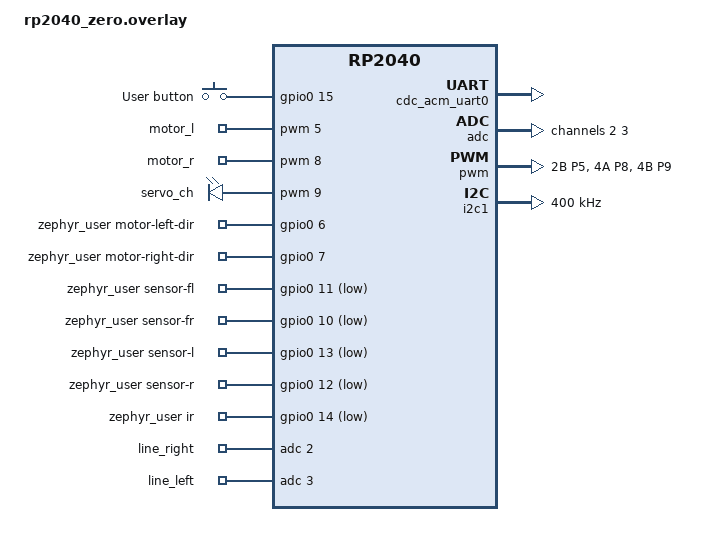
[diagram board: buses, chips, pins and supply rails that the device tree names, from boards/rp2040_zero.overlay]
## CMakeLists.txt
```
cmake_minimum_required(VERSION 3.20.0)
find_package(Zephyr REQUIRED HINTS $ENV{ZEPHYR_BASE})
project(joltik_v2_sumo)

target_sources(app PRIVATE
    src/main.c
    src/motors.c
    src/sensors.c
    src/led.c
    src/servo.c
    src/combat.c
    src/tactics.c
    src/button.c
    src/rc5.c
    src/shell_cmds.c
    src/settings.c
)

target_sources_ifdef(CONFIG_JOLTIK_DISPLAY app PRIVATE
    src/display.c
    src/u8g2_zephyr_hal.c
)

# u8g2 graphics library (vendored subset)
if(CONFIG_JOLTIK_DISPLAY)
    set(U8G2_DIR ${CMAKE_CURRENT_SOURCE_DIR}/lib/u8g2)
    file(GLOB U8G2_SOURCES ${U8G2_DIR}/*.c)
    target_sources(app PRIVATE ${U8G2_SOURCES})
    target_include_directories(app PRIVATE ${U8G2_DIR})
endif()
```

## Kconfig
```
mainmenu "Joltik V2 Sumo Robot Configuration"

config JOLTIK_DISPLAY
	bool "Enable SSD1306 OLED display (u8g2)"
	default n
	depends on I2C
	help
	  Enable the optional 128x32 SSD1306 OLED display on I2C1 (GPIO2/GPIO3).
	  Uses vendored u8g2 graphics library for rendering.

config JOLTIK_IR_REMOTE
	bool "Enable RC5 IR remote control"
	default y
	help
	  Enable RC5 infrared remote control for tactic selection and start/stop.

source "Kconfig.zephyr"
```

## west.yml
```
# SPDX-License-Identifier: Apache-2.0
# Workspace manifest for Zephyr CI and local `west init -l .` from this directory.

manifest:
  remotes:
    - name: zephyrproject-rtos
      url-base: https://github.com/zephyrproject-rtos

  projects:
    - name: zephyr
      remote: zephyrproject-rtos
      revision: v4.3.0
      import: true
```

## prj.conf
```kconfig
# Core
CONFIG_MAIN_STACK_SIZE=4096
CONFIG_SYSTEM_WORKQUEUE_STACK_SIZE=2048
CONFIG_HEAP_MEM_POOL_SIZE=4096

# GPIO
CONFIG_GPIO=y

# PWM (motors + servo)
CONFIG_PWM=y

# ADC (line sensors)
CONFIG_ADC=y

# LED Strip (WS2812 via PIO)
CONFIG_LED_STRIP=y

# USB CDC ACM (console/shell)
CONFIG_USB_DEVICE_STACK_NEXT=y
CONFIG_CDC_ACM_SERIAL_INITIALIZE_AT_BOOT=y
CONFIG_SERIAL=y
CONFIG_CONSOLE=y
CONFIG_UART_CONSOLE=y
CONFIG_UART_LINE_CTRL=y

# Shell
CONFIG_SHELL=y
CONFIG_SHELL_BACKEND_SERIAL=y

# Logging
CONFIG_LOG=y
CONFIG_LOG_MODE_DEFERRED=y
CONFIG_LOG_BUFFER_SIZE=2048

# Settings (persistent storage via NVS)
CONFIG_FLASH=y
CONFIG_FLASH_MAP=y
CONFIG_NVS=y
CONFIG_SETTINGS=y
CONFIG_SETTINGS_RUNTIME=y
CONFIG_SETTINGS_NVS=y
CONFIG_MPU_ALLOW_FLASH_WRITE=y

# Display (SSD1306 128x32 OLED via I2C)
CONFIG_JOLTIK_DISPLAY=y
CONFIG_I2C=y

# Input subsystem (button)
CONFIG_INPUT=y

# Build output
CONFIG_BUILD_OUTPUT_UF2=y

# Thread info
CONFIG_THREAD_NAME=y

# Suppress noisy USB control transfer logs
CONFIG_USB_DEVICE_LOG_LEVEL_OFF=y
CONFIG_USBD_LOG_LEVEL_WRN=y
CONFIG_USBD_CDC_ACM_LOG_LEVEL_WRN=y
```

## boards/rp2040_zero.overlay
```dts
/*
 * Joltik V2 Mini Sumo Robot - Devicetree overlay for Waveshare RP2040-Zero
 *
 * Pin mapping:
 *   Motor L speed: GPIO5  (PWM slice 2 ch B, pwm channel 5)
 *   Motor L dir:   GPIO6  (GPIO)
 *   Motor R dir:   GPIO7  (GPIO)
 *   Motor R speed: GPIO8  (PWM slice 4 ch A, pwm channel 8)
 *   Servo:         GPIO9  (PWM slice 4 ch B, pwm channel 9)
 *   Sensor L:      GPIO10 (opponent, active-low)
 *   Sensor R:      GPIO11 (opponent, active-low)
 *   Sensor FL:     GPIO12 (opponent, active-low)
 *   Sensor FR:     GPIO13 (opponent, active-low)
 *   IR receiver:   GPIO14 (RC5 protocol)
 *   Button:        GPIO15 (active-high)
 *   WS2812 LED:    GPIO16 (already in base DTS)
 *   Line R (ADC):  GPIO28 (ADC ch2)
 *   Line L (ADC):  GPIO29 (ADC ch3)
 *
 * WARNING: GPIO8 (motor R) and GPIO9 (servo) share PWM slice 4.
 * Both channels MUST use the same period (currently 20ms/50Hz).
 * Changing one channel's frequency affects the other — RP2040 HW constraint.
 *       Both run at 50Hz (servo frequency). Motor audible hum is acceptable.
 */

#include <zephyr/dt-bindings/pwm/pwm.h>
#include <zephyr/dt-bindings/input/input-event-codes.h>
#include <dt-bindings/pinctrl/rpi-pico-rp2040-pinctrl.h>

/ {
	chosen {
		zephyr,console = &cdc_acm_uart0;
		zephyr,shell-uart = &cdc_acm_uart0;
	};

	buttons {
		compatible = "gpio-keys";
		debounce-interval-ms = <50>;

		user_button: button_0 {
			gpios = <&gpio0 15 GPIO_ACTIVE_HIGH>;
			zephyr,code = <INPUT_KEY_ENTER>;
			label = "User button";
		};
	};

	aliases {
		sw0 = &user_button;
	};

	/* Motor PWM outputs */
	motor_left_pwm: motor-left-pwm {
		compatible = "pwm-leds";
		motor_l: motor_l {
			pwms = <&pwm 5 PWM_MSEC(20) PWM_POLARITY_NORMAL>;
		};
	};

	motor_right_pwm: motor-right-pwm {
		compatible = "pwm-leds";
		motor_r: motor_r {
			pwms = <&pwm 8 PWM_MSEC(20) PWM_POLARITY_NORMAL>;
		};
	};

	servo_node: servo-node {
		compatible = "pwm-leds";
		servo_ch: servo_ch {
			pwms = <&pwm 9 PWM_MSEC(20) PWM_POLARITY_NORMAL>;
		};
	};

	zephyr_user: zephyr,user {
		/* Motor direction GPIOs */
		motor-left-dir-gpios = <&gpio0 6 GPIO_ACTIVE_HIGH>;
		motor-right-dir-gpios = <&gpio0 7 GPIO_ACTIVE_HIGH>;

		/* Opponent sensors (active-low: LOW = detected) */
		sensor-fl-gpios = <&gpio0 11 GPIO_ACTIVE_LOW>;
		sensor-fr-gpios = <&gpio0 10 GPIO_ACTIVE_LOW>;
		sensor-l-gpios = <&gpio0 13 GPIO_ACTIVE_LOW>;
		sensor-r-gpios = <&gpio0 12 GPIO_ACTIVE_LOW>;

		/* IR receiver */
		ir-gpios = <&gpio0 14 GPIO_ACTIVE_LOW>;

		/* Line sensors (ADC channels) */
		io-channels = <&adc 2>, <&adc 3>;
		io-channel-names = "line_right", "line_left";
	};
};

/* USB CDC ACM for shell and console */
&zephyr_udc0 {
	cdc_acm_uart0: cdc_acm_uart0 {
		compatible = "zephyr,cdc-acm-uart";
	};
};

/* ADC channels with proper resolution for line sensors */
&adc {
	status = "okay";
	#address-cells = <1>;
	#size-cells = <0>;

	channel@2 {
		reg = <2>;
		zephyr,gain = "ADC_GAIN_1";
		zephyr,reference = "ADC_REF_INTERNAL";
		zephyr,acquisition-time = <ADC_ACQ_TIME_DEFAULT>;
		zephyr,resolution = <12>;
	};

	channel@3 {
		reg = <3>;
		zephyr,gain = "ADC_GAIN_1";
		zephyr,reference = "ADC_REF_INTERNAL";
		zephyr,acquisition-time = <ADC_ACQ_TIME_DEFAULT>;
		zephyr,resolution = <12>;
	};
};

/* Enable PWM with motor + servo pins */
&pwm {
	status = "okay";
	pinctrl-0 = <&pwm_default>;
	pinctrl-names = "default";
};

/* Add PWM and I2C pinctrl */
&pinctrl {
	pwm_default: pwm_default {
		group1 {
			pinmux = <PWM_2B_P5>,   /* Motor L speed */
				 <PWM_4A_P8>,   /* Motor R speed */
				 <PWM_4B_P9>;   /* Servo */
		};
	};

	i2c1_default: i2c1_default {
		group1 {
			pinmux = <I2C1_SDA_P2>, /* SDA - GPIO2 */
				 <I2C1_SCL_P3>; /* SCL - GPIO3 */
			input-enable;
			bias-pull-up;
		};
	};
};

/* I2C1 for OLED display (u8g2 manages SSD1306 directly) */
&i2c1 {
	status = "okay";
	pinctrl-0 = <&i2c1_default>;
	pinctrl-names = "default";
	clock-frequency = <I2C_BITRATE_FAST>;
};

/* Carve out storage partition for NVS settings at end of 2MB flash */
&flash0 {
	partitions {
		compatible = "fixed-partitions";
		#address-cells = <1>;
		#size-cells = <1>;

		/* Shrink code partition: 2MB - 256 bootloader - 64KB storage */
		code_partition: partition@100 {
			label = "code-partition";
			reg = <0x100 (DT_SIZE_M(2) - 0x100 - DT_SIZE_K(64))>;
			read-only;
		};

		/* 64KB storage partition at end of flash for NVS */
		storage_partition: partition@1f0000 {
			label = "storage";
			reg = <0x1f0000 DT_SIZE_K(64)>;
		};
	};
};
```

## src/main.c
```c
/*
 * Joltik V2 Mini Sumo Competition Firmware - Zephyr RTOS
 *
 * State machine: WAITING -> countdown -> tactics -> combat loop
 * IR remote handled in dedicated thread via k_msgq.
 */

#include <zephyr/kernel.h>
#include <zephyr/logging/log.h>
#include <zephyr/sys/atomic.h>

#include "motors.h"
#include "sensors.h"
#include "led.h"
#include "servo.h"
#include "combat.h"
#include "tactics.h"
#include "button.h"
#include "rc5.h"
#include "settings.h"
#include "display.h"

LOG_MODULE_REGISTER(main, LOG_LEVEL_INF);

/* Shared state between main thread, IR thread, and button */
static atomic_t running = ATOMIC_INIT(0);
static atomic_t current_tactic = ATOMIC_INIT(0);
static K_EVENT_DEFINE(start_event);

#define EVENT_START BIT(0)

/* ==================== IR Thread ==================== */
#define IR_STACK_SIZE 1024
#define IR_PRIORITY   5

static void ir_thread_entry(void *p1, void *p2, void *p3)
{
	ARG_UNUSED(p1);
	ARG_UNUSED(p2);
	ARG_UNUSED(p3);

	struct rc5_message msg;

	LOG_INF("IR thread started");

	while (1) {
		if (!rc5_get_message(&msg, -1)) {
			continue;
		}

		LOG_INF("IR: addr=%u cmd=%u toggle=%u",
			msg.address, msg.command, msg.toggle);

		switch (msg.command) {
		case RC5_CMD_TACTIC_1:
		case RC5_CMD_TACTIC_2:
		case RC5_CMD_TACTIC_3:
		case RC5_CMD_TACTIC_4:
			atomic_set(&current_tactic, msg.command - 1);
			led_set_state(STATE_TACTIC_SELECT);
			k_msleep(100);
			break;

		case RC5_CMD_POWER:
			if (atomic_get(&running)) {
				atomic_set(&running, 0);
				motors_stop();
			} else {
				k_event_post(&start_event, EVENT_START);
			}
			break;
		}
	}
}

K_THREAD_DEFINE(ir_tid, IR_STACK_SIZE, ir_thread_entry,
		NULL, NULL, NULL, IR_PRIORITY, 0, 0);

/* ==================== Countdown (interruptible) ==================== */
static bool countdown(void)
{
	for (int i = 5; i > 0; i--) {
		LOG_INF("Countdown: %d", i);
		led_set_state(i % 2 ? STATE_COUNTDOWN : STATE_WAITING);

		int64_t deadline = k_uptime_get() + 1000;

		while (k_uptime_get() < deadline) {
			if (!atomic_get(&running)) {
				return false;
			}
			if (button_poll() == BTN_SINGLE) {
				return false;
			}
			k_sleep(K_MSEC(50));
		}
	}

	led_set_state(STATE_SEARCHING);
	return true;
}

/* ==================== Stop & Tactic Select ==================== */
static void stop_robot(void)
{
	atomic_set(&running, 0);
	motors_stop();
	combat_reset_count();
	LOG_INF("STOPPED");

	/* Blink white, wait for restart */
	while (!atomic_get(&running)) {
		enum button_event evt = button_poll();

		if (evt == BTN_SINGLE) {
			break;
		}
		if (evt == BTN_DOUBLE) {
			uint8_t t = (atomic_get(&current_tactic) + 1) % TACTIC_COUNT;
			atomic_set(&current_tactic, t);
			LOG_INF("Tactic: %u", t);

			for (uint8_t i = 0; i <= t; i++) {
				led_set_state(STATE_TACTIC_SELECT);
				k_msleep(150);
				led_off();
				k_msleep(150);
			}
			continue;
		}

		/* Check for IR-triggered start */
		if (k_event_wait(&start_event, EVENT_START, false, K_NO_WAIT)) {
			k_event_clear(&start_event, EVENT_START);
			break;
		}

		display_request_update();
		led_set_state(STATE_WAITING);
		k_msleep(500);
		led_off();
		k_msleep(500);
	}

	atomic_set(&running, 1);
}

/* ==================== Main ==================== */
int main(void)
{
	int ret;

	LOG_INF("Joltik V2 Mini Sumo - Zephyr RTOS");

	/* Initialize all subsystems */
	ret = motors_init();
	if (ret) {
		LOG_ERR("Motors init failed: %d", ret);
	}

	ret = sensors_init();
	if (ret) {
		LOG_ERR("Sensors init failed: %d", ret);
	}

	ret = led_init();
	if (ret) {
		LOG_ERR("LED init failed: %d", ret);
	}

	ret = servo_init();
	if (ret) {
		LOG_ERR("Servo init failed: %d", ret);
	}

	ret = button_init();
	if (ret) {
		LOG_ERR("Button init failed: %d", ret);
	}

	ret = rc5_init();
	if (ret) {
		LOG_ERR("RC5 init failed: %d", ret);
	}

	ret = app_settings_init();
	if (ret) {
		LOG_ERR("Settings init failed: %d", ret);
	}

	ret = display_init();
	if (ret) {
		LOG_WRN("Display init failed: %d", ret);
	}

	/* Apply loaded settings */
	atomic_set(&current_tactic, g_settings.current_tactic);

	motors_stop();
	led_set_state(STATE_WAITING);

	LOG_INF("Waiting for start...");

	/* ---- Wait for start (button or IR) ---- */
	bool started = false;
	while (!started) {
		enum button_event evt = button_poll();

		if (evt == BTN_SINGLE) {
			started = true;
			break;
		}
		if (evt == BTN_DOUBLE) {
			uint8_t t = (atomic_get(&current_tactic) + 1) % TACTIC_COUNT;
			atomic_set(&current_tactic, t);
			LOG_INF("Tactic selected: %u", t);

			for (uint8_t i = 0; i <= t; i++) {
				led_set_state(STATE_TACTIC_SELECT);
				k_msleep(150);
				led_off();
				k_msleep(150);
			}
			led_set_state(STATE_WAITING);
			continue;
		}

		/* Check for IR-triggered start */
		if (k_event_wait(&start_event, EVENT_START, false, K_NO_WAIT)) {
			k_event_clear(&start_event, EVENT_START);
			started = true;
			break;
		}

		display_request_update();
		k_msleep(50);
	}

	/* ---- 5-second countdown ---- */
	atomic_set(&running, 1);

	if (!countdown()) {
		/* Aborted — go to stop state, main loop will handle restart */
		motors_stop();
	}

	/* Execute selected tactic start routine */
	uint8_t tactic = atomic_get(&current_tactic);
	tactics_execute(tactic);

	/* ---- Main combat loop ---- */
	LOG_INF("Combat loop started");

	while (1) {
		/* Button press stops the robot */
		enum button_event evt = button_poll();
		if (evt == BTN_SINGLE) {
			stop_robot();
			tactic = atomic_get(&current_tactic);
			if (!countdown()) {
				continue;
			}
			tactics_execute(tactic);
			continue;
		}

		/* IR-triggered stop */
		if (!atomic_get(&running)) {
			stop_robot();
			tactic = atomic_get(&current_tactic);
			if (!countdown()) {
				continue;
			}
			tactics_execute(tactic);
			continue;
		}

		/* Check line sensors (always active) */
		bool line_l = line_on_ring_left();
		bool line_r = line_on_ring_right();

		if (!line_l && !line_r) {
			backoff(DIR_RIGHT);
			continue;
		}
		if (!line_l) {
			backoff(DIR_RIGHT);
			continue;
		}
		if (!line_r) {
			backoff(DIR_LEFT);
			continue;
		}

		/* No opponent - search; opponent - attack */
		if (!opponent_detected()) {
			search();
			combat_reset_count();
			LOG_DBG("Searching");
		} else {
			attack();
			LOG_DBG("Attacking");
		}

		/* Rate-limit display updates to ~10 Hz */
		static int64_t last_display;

		if (k_uptime_get() - last_display >= 100) {
			display_request_update();
			last_display = k_uptime_get();
		}
	}

	return 0;
}
```

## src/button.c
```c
#include <zephyr/kernel.h>
#include <zephyr/input/input.h>
#include <zephyr/logging/log.h>

#include "button.h"

LOG_MODULE_REGISTER(button, LOG_LEVEL_INF);

#define DOUBLE_CLICK_WINDOW_MS 400

static struct k_sem press_sem;
static bool pending_press;
static int64_t first_press_time;

static void button_input_cb(struct input_event *evt, void *user_data)
{
	ARG_UNUSED(user_data);

	/* Only handle key press events (value=1), not release */
	if (evt->type == INPUT_EV_KEY && evt->value == 1) {
		k_sem_give(&press_sem);
	}
}

INPUT_CALLBACK_DEFINE(NULL, button_input_cb, NULL);

int button_init(void)
{
	k_sem_init(&press_sem, 0, 1);
	pending_press = false;
	first_press_time = 0;

	LOG_INF("Button initialized");
	return 0;
}

/*
 * Non-blocking button poll with double-click detection.
 * Must be called frequently (e.g. every loop iteration).
 * BTN_SINGLE is returned after the double-click window expires.
 */
enum button_event button_poll(void)
{
	int64_t now = k_uptime_get();

	if (k_sem_take(&press_sem, K_NO_WAIT) != 0) {
		/* No new press — check if pending single expired */
		if (pending_press && (now - first_press_time) >= DOUBLE_CLICK_WINDOW_MS) {
			pending_press = false;
			return BTN_SINGLE;
		}
		return BTN_NONE;
	}

	/* Got a press */
	if (pending_press && (now - first_press_time) < DOUBLE_CLICK_WINDOW_MS) {
		/* Second press within window */
		pending_press = false;
		return BTN_DOUBLE;
	}

	/* First press — start double-click window */
	first_press_time = now;
	pending_press = true;
	return BTN_NONE;
}
```

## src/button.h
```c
#ifndef JOLTIK_BUTTON_H
#define JOLTIK_BUTTON_H

enum button_event {
	BTN_NONE,
	BTN_SINGLE,
	BTN_DOUBLE,
};

int button_init(void);
enum button_event button_poll(void);

#endif
```

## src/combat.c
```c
#include <zephyr/kernel.h>
#include <zephyr/logging/log.h>

#include "combat.h"
#include "motors.h"
#include "sensors.h"
#include "led.h"
#include "settings.h"

LOG_MODULE_REGISTER(combat, LOG_LEVEL_DBG);

static int count;
/*
 * search_dir is updated by attack() when a side sensor triggers,
 * so search() continues looking where the opponent was last seen.
 */
static uint8_t search_dir = DIR_LEFT;

void combat_reset_count(void)
{
	count = 0;
}

void search(void)
{
	led_set_state(STATE_SEARCHING);

	if (search_dir == DIR_LEFT) {
		drive(-g_settings.search_speed, g_settings.search_speed);
		LOG_DBG("Search left");
	} else {
		drive(g_settings.search_speed, -g_settings.search_speed);
		LOG_DBG("Search right");
	}
}

void backoff(uint8_t dir)
{
	led_set_state(STATE_BACKOFF);

	/* Reverse */
	drive(-g_settings.breakout_speed, -g_settings.breakout_speed);
	LOG_DBG("Reverse");
	k_msleep(200);

	/* Brief stop */
	motors_stop();
	k_msleep(50);

	/* Rotate away from edge */
	if (dir == DIR_LEFT) {
		drive(-g_settings.rotate_speed, g_settings.rotate_speed);
		LOG_DBG("Backoff left");
	} else {
		drive(g_settings.rotate_speed, -g_settings.rotate_speed);
		LOG_DBG("Backoff right");
	}
	k_msleep(100);

	/* Look for opponent during rotation */
	int64_t deadline = k_uptime_get() + 200;
	while (k_uptime_get() < deadline) {
		if (opponent_detected()) {
			motors_stop();
			k_msleep(50);
			LOG_DBG("Backoff: opponent found");
			return;
		}
		k_sleep(K_MSEC(1));
	}

	/* No opponent found, move forward */
	drive(g_settings.straight_speed, g_settings.straight_speed);
	k_msleep(100);
}

/* NOTE: caller (main loop) must check line sensors before calling attack() */
void attack(void)
{
	led_set_state(STATE_ATTACKING);
	int64_t attack_start = k_uptime_get();

	/* Priority 1: All four sensors - full speed ram with ramp */
	if (sensor_front() && sensor_l() && sensor_r()) {
		int spd = g_settings.max_speed + count;
		drive(spd, spd);
		if (count < 255 - g_settings.max_speed) {
			count++;
		}
		LOG_DBG("Attack ALL max speed");
	}
	/* Priority 2: Both front sensors - straight attack */
	else if (sensor_front()) {
		drive(g_settings.attack_speed, g_settings.attack_speed);
		LOG_DBG("Attack front");
	}
	/* Priority 3: Front-left only - slight left turn */
	else if (sensor_fl()) {
		search_dir = DIR_LEFT;
		drive(g_settings.attack_speed - 30, g_settings.attack_speed + 10);
		LOG_DBG("Attack front-left");
	}
	/* Priority 4: Front-right only - slight right turn */
	else if (sensor_fr()) {
		search_dir = DIR_RIGHT;
		drive(g_settings.attack_speed + 10, g_settings.attack_speed - 30);
		LOG_DBG("Attack front-right");
	}
	/* Priority 5: Side-left only - rotate left */
	else if (sensor_l()) {
		search_dir = DIR_LEFT;
		drive(-g_settings.rotate_speed, g_settings.rotate_speed);
		LOG_DBG("Attack side-left");
		while (!sensor_front()) {
			if (k_uptime_get() - attack_start > 200) {
				break;
			}
			k_sleep(K_MSEC(1));
		}
	}
	/* Priority 6: Side-right only - rotate right */
	else if (sensor_r()) {
		search_dir = DIR_RIGHT;
		drive(g_settings.rotate_speed, -g_settings.rotate_speed);
		LOG_DBG("Attack side-right");
		while (!sensor_front()) {
			if (k_uptime_get() - attack_start > 200) {
				break;
			}
			k_sleep(K_MSEC(1));
		}
	}
}
```

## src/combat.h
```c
#ifndef JOLTIK_COMBAT_H
#define JOLTIK_COMBAT_H

#include <stdint.h>

#define DIR_LEFT  0
#define DIR_RIGHT 1

void attack(void);
void backoff(uint8_t dir);
void search(void);

/* Speed ramping counter for full-sensor attack */
void combat_reset_count(void);

#endif
```

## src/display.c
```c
/*
 * Display driver — u8g2 graphics on SSD1306 128x32
 *
 * Layout:
 *   Top half  (y=0..15):  4 opponent sensor boxes  [L] [FL] [FR] [R]
 *   Separator (y=16):     horizontal line
 *   Bottom    (y=17..31): 2 line sensor bar graphs with threshold marker
 */

#include <zephyr/kernel.h>
#include <zephyr/device.h>
#include <zephyr/drivers/i2c.h>
#include <zephyr/sys/atomic.h>
#include <zephyr/logging/log.h>

#include "display.h"
#include "u8g2_zephyr_hal.h"
#include "sensors.h"
#include "settings.h"

LOG_MODULE_REGISTER(display, LOG_LEVEL_INF);

static u8g2_t u8g2;
static atomic_t display_ready = ATOMIC_INIT(0);

/* Sensor box geometry */
#define BOX_W     29
#define BOX_H     14
#define BOX_Y      0
#define BOX_GAP    4
/* Box X positions: L=0, FL=33, FR=66, R=99 */
static const uint8_t box_x[4] = { 0, 33, 66, 99 };

/* Bar graph geometry */
#define BAR_Y1    18
#define BAR_Y2    25
#define BAR_H      6
#define BAR_W    128

static void display_work_handler(struct k_work *work)
{
	if (!atomic_get(&display_ready)) {
		return;
	}

	u8g2_ClearBuffer(&u8g2);

	/* --- Top: 4 opponent sensor boxes --- */
	bool sensors[4] = {
		sensor_l(), sensor_fl(), sensor_fr(), sensor_r()
	};
	static const char *labels[4] = { "L", "FL", "FR", "R" };

	u8g2_SetFont(&u8g2, u8g2_font_5x7_tr);

	for (int i = 0; i < 4; i++) {
		uint8_t x = box_x[i];

		if (sensors[i]) {
			/* Filled box for active sensor */
			u8g2_DrawBox(&u8g2, x, BOX_Y, BOX_W, BOX_H);
			/* Label in inverted color (black on white) */
			u8g2_SetDrawColor(&u8g2, 0);
		} else {
			/* Outline only */
			u8g2_DrawFrame(&u8g2, x, BOX_Y, BOX_W, BOX_H);
			u8g2_SetDrawColor(&u8g2, 1);
		}

		/* Center label in box */
		uint8_t tw = u8g2_GetStrWidth(&u8g2, labels[i]);
		u8g2_DrawStr(&u8g2, x + (BOX_W - tw) / 2, BOX_Y + 11, labels[i]);
		u8g2_SetDrawColor(&u8g2, 1);
	}

	/* --- Separator line --- */
	u8g2_DrawHLine(&u8g2, 0, 16, 128);

	/* --- Bottom: line sensor bar graphs --- */
	int left_val  = line_read_left();
	int right_val = line_read_right();
	uint16_t threshold = line_get_threshold();

	int left_bar  = (left_val * BAR_W) / 4095;
	int right_bar = (right_val * BAR_W) / 4095;
	int thresh_x  = (threshold * BAR_W) / 4095;

	if (left_bar > BAR_W) {
		left_bar = BAR_W;
	}
	if (right_bar > BAR_W) {
		right_bar = BAR_W;
	}
	if (thresh_x > 127) {
		thresh_x = 127;
	}

	/* Left bar */
	if (left_bar > 0) {
		u8g2_DrawBox(&u8g2, 0, BAR_Y1, left_bar, BAR_H);
	}

	/* Right bar */
	if (right_bar > 0) {
		u8g2_DrawBox(&u8g2, 0, BAR_Y2, right_bar, BAR_H);
	}

	/* Threshold markers (XOR so they contrast with both filled and empty) */
	u8g2_SetDrawColor(&u8g2, 2); /* XOR mode */
	u8g2_DrawVLine(&u8g2, thresh_x, BAR_Y1, BAR_H);
	u8g2_DrawVLine(&u8g2, thresh_x, BAR_Y2, BAR_H);
	u8g2_SetDrawColor(&u8g2, 1);

	u8g2_SendBuffer(&u8g2);
}

static K_WORK_DEFINE(display_work, display_work_handler);

int display_init(void)
{
	const struct device *i2c_dev = DEVICE_DT_GET(DT_NODELABEL(i2c1));

	if (!device_is_ready(i2c_dev)) {
		LOG_WRN("I2C1 not ready — display disabled");
		return -ENODEV;
	}

	u8g2_setup_zephyr_ssd1306_128x32(&u8g2, i2c_dev);
	u8g2_InitDisplay(&u8g2);
	u8g2_SetPowerSave(&u8g2, 0);
	u8g2_SetContrast(&u8g2, 200);

	/* Splash screen */
	u8g2_ClearBuffer(&u8g2);
	u8g2_SetFont(&u8g2, u8g2_font_helvB14_tr);

	const char *splash = "JOLTIK";
	uint8_t tw = u8g2_GetStrWidth(&u8g2, splash);
	u8g2_DrawStr(&u8g2, (128 - tw) / 2, 24, splash);
	u8g2_SendBuffer(&u8g2);

	atomic_set(&display_ready, 1);
	LOG_INF("Display initialized (u8g2)");
	return 0;
}

void display_request_update(void)
{
	k_work_submit(&display_work);
}
```

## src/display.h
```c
#ifndef JOLTIK_DISPLAY_H
#define JOLTIK_DISPLAY_H

#ifdef CONFIG_JOLTIK_DISPLAY
int display_init(void);
void display_request_update(void);
#else
static inline int display_init(void) { return 0; }
static inline void display_request_update(void) {}
#endif

#endif
```

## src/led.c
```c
#include <zephyr/kernel.h>
#include <zephyr/drivers/led_strip.h>
#include <zephyr/logging/log.h>

#include "led.h"

LOG_MODULE_REGISTER(led, LOG_LEVEL_INF);

#define STRIP_NODE DT_ALIAS(led_strip)
static const struct device *strip = DEVICE_DT_GET(STRIP_NODE);

static struct led_rgb pixel;
static struct led_rgb pending_pixel;

static void led_work_handler(struct k_work *work)
{
	pixel = pending_pixel;
	led_strip_update_rgb(strip, &pixel, 1);
}

static K_WORK_DEFINE(led_work, led_work_handler);

int led_init(void)
{
	if (!device_is_ready(strip)) {
		LOG_ERR("LED strip not ready");
		return -ENODEV;
	}

	led_off();
	LOG_INF("LED initialized");
	return 0;
}

/* Brightness cap: 64/255 ≈ 25% of max */
#define LED_BRIGHTNESS_SCALE 64

void led_set_color(uint8_t r, uint8_t g, uint8_t b)
{
	pending_pixel.r = (r * LED_BRIGHTNESS_SCALE) / 255;
	pending_pixel.g = (g * LED_BRIGHTNESS_SCALE) / 255;
	pending_pixel.b = (b * LED_BRIGHTNESS_SCALE) / 255;
	k_work_submit(&led_work);
}

void led_set_state(enum robot_state state)
{
	switch (state) {
	case STATE_WAITING:
		led_set_color(255, 255, 255); /* white */
		break;
	case STATE_SEARCHING:
		led_set_color(0, 255, 0); /* green */
		break;
	case STATE_ATTACKING:
		led_set_color(0, 0, 255); /* blue */
		break;
	case STATE_BACKOFF:
		led_set_color(255, 0, 0); /* red */
		break;
	case STATE_TACTIC_SELECT:
		led_set_color(255, 255, 0); /* yellow */
		break;
	case STATE_COUNTDOWN:
		led_set_color(0, 255, 0); /* green */
		break;
	}
}

void led_off(void)
{
	led_set_color(0, 0, 0);
}
```

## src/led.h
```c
#ifndef JOLTIK_LED_H
#define JOLTIK_LED_H

#include <stdint.h>

enum robot_state {
	STATE_WAITING,
	STATE_SEARCHING,
	STATE_ATTACKING,
	STATE_BACKOFF,
	STATE_TACTIC_SELECT,
	STATE_COUNTDOWN,
};

int led_init(void);
void led_set_color(uint8_t r, uint8_t g, uint8_t b);
void led_set_state(enum robot_state state);
void led_off(void);

#endif
```

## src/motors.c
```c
#include <zephyr/kernel.h>
#include <zephyr/drivers/pwm.h>
#include <zephyr/drivers/gpio.h>
#include <zephyr/logging/log.h>
#include <stdlib.h>

#include "motors.h"

LOG_MODULE_REGISTER(motors, LOG_LEVEL_INF);

#define ZEPHYR_USER_NODE DT_PATH(zephyr_user)

static const struct pwm_dt_spec motor_left_pwm =
	PWM_DT_SPEC_GET(DT_NODELABEL(motor_l));
static const struct pwm_dt_spec motor_right_pwm =
	PWM_DT_SPEC_GET(DT_NODELABEL(motor_r));

static const struct gpio_dt_spec motor_left_dir =
	GPIO_DT_SPEC_GET(ZEPHYR_USER_NODE, motor_left_dir_gpios);
static const struct gpio_dt_spec motor_right_dir =
	GPIO_DT_SPEC_GET(ZEPHYR_USER_NODE, motor_right_dir_gpios);

int motors_init(void)
{
	int ret;

	if (!pwm_is_ready_dt(&motor_left_pwm) ||
	    !pwm_is_ready_dt(&motor_right_pwm)) {
		LOG_ERR("PWM devices not ready");
		return -ENODEV;
	}

	if (!gpio_is_ready_dt(&motor_left_dir) ||
	    !gpio_is_ready_dt(&motor_right_dir)) {
		LOG_ERR("Motor direction GPIO not ready");
		return -ENODEV;
	}

	ret = gpio_pin_configure_dt(&motor_left_dir, GPIO_OUTPUT_INACTIVE);
	if (ret < 0) {
		return ret;
	}

	ret = gpio_pin_configure_dt(&motor_right_dir, GPIO_OUTPUT_INACTIVE);
	if (ret < 0) {
		return ret;
	}

	motors_stop();
	LOG_INF("Motors initialized");
	return 0;
}

void drive(int left, int right)
{
	left = CLAMP(left, -255, 255);
	right = CLAMP(right, -255, 255);

	/* Left motor: direction + PWM duty */
	gpio_pin_set_dt(&motor_left_dir, left < 0 ? 1 : 0);
	uint32_t left_pulse = (motor_left_pwm.period * (uint32_t)abs(left)) / 255;
	pwm_set_pulse_dt(&motor_left_pwm, left_pulse);

	/* Right motor: direction + PWM duty */
	gpio_pin_set_dt(&motor_right_dir, right < 0 ? 1 : 0);
	uint32_t right_pulse = (motor_right_pwm.period * (uint32_t)abs(right)) / 255;
	pwm_set_pulse_dt(&motor_right_pwm, right_pulse);
}

void motors_stop(void)
{
	drive(0, 0);
}
```

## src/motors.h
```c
#ifndef JOLTIK_MOTORS_H
#define JOLTIK_MOTORS_H

int motors_init(void);
void drive(int left, int right);
void motors_stop(void);

#endif
```

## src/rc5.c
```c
#include <zephyr/kernel.h>
#include <zephyr/drivers/gpio.h>
#include <zephyr/logging/log.h>

#include "rc5.h"

LOG_MODULE_REGISTER(rc5, LOG_LEVEL_INF);

#define ZEPHYR_USER_NODE DT_PATH(zephyr_user)

static const struct gpio_dt_spec ir_pin =
	GPIO_DT_SPEC_GET(ZEPHYR_USER_NODE, ir_gpios);

/* RC5 timing (microseconds) */
#define MIN_SHORT  444
#define MAX_SHORT  1333
#define MIN_LONG   1334
#define MAX_LONG   2222

/* Events (step by 2 for bit-shift in transition table) */
#define EVENT_SHORTSPACE  0
#define EVENT_SHORTPULSE  2
#define EVENT_LONGSPACE   4
#define EVENT_LONGPULSE   6

/* States */
#define STATE_START1 0
#define STATE_MID1   1
#define STATE_MID0   2
#define STATE_START0 3

/* RC5 bit field masks */
#define S2_MASK       0x1000
#define S2_SHIFT      12
#define TOGGLE_MASK   0x0800
#define TOGGLE_SHIFT  11
#define ADDRESS_MASK  0x7C0
#define ADDRESS_SHIFT 6
#define COMMAND_MASK  0x003F
#define COMMAND_SHIFT 0

/* Transition table from original RC5 library */
static const uint8_t trans[] = {0x01, 0x91, 0x9B, 0xFB};

/* Decoder state */
static volatile uint8_t rc5_state;
static volatile uint8_t rc5_bits;
static volatile uint16_t rc5_command;
static volatile uint32_t rc5_last_time;

static struct gpio_callback ir_cb_data;
K_MSGQ_DEFINE(ir_msgq, sizeof(struct rc5_message), 4, 4);

static void rc5_reset(void)
{
	rc5_state = STATE_MID1;
	rc5_bits = 1;
	rc5_command = 1;
}

static void rc5_decode_event(uint8_t event)
{
	uint8_t new_state = (trans[rc5_state] >> event) & 0x3;

	if (new_state == rc5_state) {
		rc5_reset();
	} else {
		rc5_state = new_state;
		if (new_state == STATE_MID0) {
			rc5_command = (rc5_command << 1) + 0;
			rc5_bits++;
		} else if (new_state == STATE_MID1) {
			rc5_command = (rc5_command << 1) + 1;
			rc5_bits++;
		}
	}
}

static void rc5_decode_pulse(uint8_t signal, uint32_t period_us)
{
	if (period_us >= MIN_SHORT && period_us <= MAX_SHORT) {
		rc5_decode_event(signal ? EVENT_SHORTPULSE : EVENT_SHORTSPACE);
	} else if (period_us >= MIN_LONG && period_us <= MAX_LONG) {
		rc5_decode_event(signal ? EVENT_LONGPULSE : EVENT_LONGSPACE);
	} else {
		rc5_reset();
	}
}

static void ir_gpio_callback(const struct device *dev, struct gpio_callback *cb,
			      uint32_t pins)
{
	uint32_t now = k_cycle_get_32();
	uint32_t elapsed_us = k_cyc_to_us_floor32(now - rc5_last_time);
	rc5_last_time = now;

	/* Read pin value. The IR receiver is active-low, but DT flag handles inversion,
	 * so gpio_pin_get_dt returns 1 when IR signal is present (pulse).
	 * The RC5 library convention: the read value after transition equals
	 * the theoretical signal value of the period that just ended. */
	int val = gpio_pin_get_dt(&ir_pin);

	rc5_decode_pulse(val, elapsed_us);

	if (rc5_bits == 14) {
		uint16_t msg_raw = rc5_command;
		struct rc5_message msg;

		msg.toggle = (msg_raw & TOGGLE_MASK) >> TOGGLE_SHIFT;
		msg.address = (msg_raw & ADDRESS_MASK) >> ADDRESS_SHIFT;
		/* Extended RC5: invert S2, shift into command bit 6 */
		uint8_t extended = (~msg_raw & S2_MASK) >> (S2_SHIFT - 6);
		msg.command = ((msg_raw & COMMAND_MASK) >> COMMAND_SHIFT) | extended;

		k_msgq_put(&ir_msgq, &msg, K_NO_WAIT);

		rc5_command = 0;
		rc5_bits = 0;
	}
}

int rc5_init(void)
{
	int ret;

	if (!gpio_is_ready_dt(&ir_pin)) {
		LOG_ERR("IR GPIO not ready");
		return -ENODEV;
	}

	ret = gpio_pin_configure_dt(&ir_pin, GPIO_INPUT);
	if (ret < 0) {
		return ret;
	}

	ret = gpio_pin_interrupt_configure_dt(&ir_pin, GPIO_INT_EDGE_BOTH);
	if (ret < 0) {
		LOG_ERR("IR interrupt config failed: %d", ret);
		return ret;
	}

	gpio_init_callback(&ir_cb_data, ir_gpio_callback, BIT(ir_pin.pin));
	ret = gpio_add_callback(ir_pin.port, &ir_cb_data);
	if (ret < 0) {
		return ret;
	}

	rc5_reset();
	rc5_last_time = k_cycle_get_32();

	LOG_INF("RC5 IR initialized (GPIO%d)", ir_pin.pin);
	return 0;
}

bool rc5_get_message(struct rc5_message *msg, int32_t timeout_ms)
{
	k_timeout_t timeout = (timeout_ms < 0) ? K_FOREVER : K_MSEC(timeout_ms);
	return k_msgq_get(&ir_msgq, msg, timeout) == 0;
}

#ifdef CONFIG_ZTEST
void rc5_test_reset(void)
{
	rc5_reset();
}

void rc5_test_decode_pulse(uint8_t signal, uint32_t period_us)
{
	rc5_decode_pulse(signal, period_us);
}

uint8_t rc5_test_get_bits(void)
{
	return rc5_bits;
}

uint16_t rc5_test_get_command(void)
{
	return rc5_command;
}
#endif
```

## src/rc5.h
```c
#ifndef JOLTIK_RC5_H
#define JOLTIK_RC5_H

#include <stdint.h>
#include <stdbool.h>

#define RC5_CMD_TACTIC_1  1
#define RC5_CMD_TACTIC_2  2
#define RC5_CMD_TACTIC_3  3
#define RC5_CMD_TACTIC_4  4
#define RC5_CMD_POWER     12

struct rc5_message {
	uint8_t toggle;
	uint8_t address;
	uint8_t command;
};

int rc5_init(void);
bool rc5_get_message(struct rc5_message *msg, int32_t timeout_ms);

/* Exposed for unit testing */
#ifdef CONFIG_ZTEST
void rc5_test_reset(void);
void rc5_test_decode_pulse(uint8_t signal, uint32_t period_us);
uint8_t rc5_test_get_bits(void);
uint16_t rc5_test_get_command(void);
#endif

#endif
```
